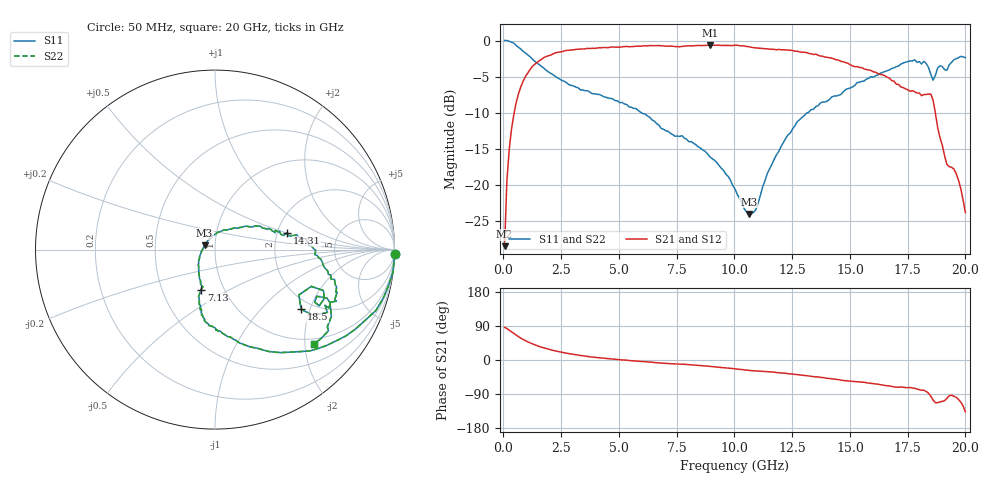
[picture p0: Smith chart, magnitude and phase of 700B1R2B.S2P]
!  American Technical Ceramics  Date:  3/13/98
!  One Norden Lane
!  Huntington Station,  NY.  11746-2102
!  Tel:  (516) 547-5700  Fax:  (516) 547-5748
!  Part Number  700B1R2B
!  Description: Porcelain, High Q, Low ESR
!  Application: Bypass, Coupling, Timing, Feedback
!  Tuning, Impedance Match, Blocking
# GHZ S DB R 50
! Freq  |S11|  S11 Ph  |S21|  S21 Ph  |S12|  S12 Ph  |S22|  S22 Ph
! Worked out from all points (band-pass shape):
!   201 points, 50 MHz to 20 GHz, reference 50 ohm
!   highest |S21| = -0.63 dB at 8.93 GHz (marker M1); lowest = -28.5 dB at 50 MHz (marker M2)
!   |S21| within 3 dB of the highest: 1.241 GHz to 15.33 GHz (14.09 GHz wide, 170 % of centre)
!   lowest |S11| = -24.1 dB at 10.62 GHz (marker M3), VSWR 1.13, Z = 44.5 + j2.19 ohm
!   |S11| at or under -10 dB: 5.972 GHz to 13.17 GHz (7.198 GHz wide, 75.2 % of centre)
!   |S22| runs from -24.1 to 0.0 dB; largest |S21 - S12| = 0
!   S11 on the Smith chart (normalised r, x): 50 MHz: -4, -85; 7.13 GHz: 0.78, -0.37; 14.31 GHz: 2.26, +0.51; 18.5 GHz: 1.73, -1.74; 20 GHz: 0.89, -2.21
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0.05  0.01 -1.3  -28.50 86.1  -28.50 86.1  0.01 -1.3
0.15  0.00 -7.1  -19.41 83.0  -19.41 83.0  0.00 -7.1
0.25  -0.11 -11.7  -15.07 78.6  -15.07 78.6  -0.11 -11.7
0.75  -1.17 -33.4  -6.43 57.6  -6.43 57.6  -1.17 -33.4
1.85  -4.12 -64.2  -2.22 30.4  -2.22 30.4  -4.12 -64.2
3.44  -6.85 -88.0  -1.16 11.3  -1.16 11.3  -6.85 -88.0
6.73  -11.72 -109.3  -0.69 -7.8  -0.69 -7.8  -11.72 -109.3
7.13  -12.58 -108.9  -0.79 -9.3  -0.79 -9.3  -12.58 -108.9
8.93  -16.09 -124.9  -0.63 -16.8  -0.63 -16.8  -16.09 -124.9
10.03  -20.60 -156.4  -0.65 -23.4  -0.65 -23.4  -20.60 -156.4
10.62  -24.05 157.1  -0.85 -27.6  -0.85 -27.6  -24.05 157.1
12.22  -13.57 38.2  -1.30 -35.1  -1.30 -35.1  -13.57 38.2
13.42  -9.53 18.6  -1.93 -43.9  -1.93 -43.9  -9.53 18.6
14.31  -7.70 13.2  -2.55 -50.2  -2.55 -50.2  -7.70 13.2
16.71  -4.07 -9.8  -5.20 -68.4  -5.20 -68.4  -4.07 -9.8
17.81  -2.67 -22.9  -7.11 -74.8  -7.11 -74.8  -2.67 -22.9
18.5  -4.68 -34.7  -7.43 -95.2  -7.43 -95.2  -4.68 -34.7
18.7  -4.82 -20.9  -10.07 -112.7  -10.07 -112.7  -4.82 -20.9
19  -3.61 -28.4  -14.50 -109.2  -14.50 -109.2  -3.61 -28.4
19.3  -3.36 -23.4  -17.48 -94.2  -17.48 -94.2  -3.36 -23.4
19.6  -2.53 -29.8  -18.43 -98.4  -18.43 -98.4  -2.53 -29.8
20  -2.36 -43.4  -23.85 -136.7  -23.85 -136.7  -2.36 -43.4
